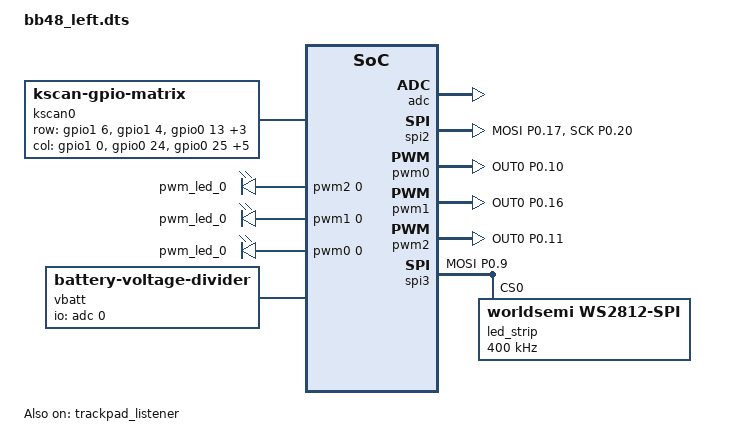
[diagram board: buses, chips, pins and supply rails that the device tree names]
/*
*
* Copyright (c) 2025 ZitaoTech
* SPDX-License-Identifier: MIT
*
*/

#include "bb48.dtsi"


/ {
    chosen {
        zmk,custom_led = &custom_led;
        zmk,trackball_led = &trackball_led;
        zmk,backlight = &backlight;
        zmk,battery = &vbatt;
        zmk,underglow = &led_strip;
    };
    kscan0: kscan {
        compatible = "zmk,kscan-gpio-matrix";
        diode-direction = "col2row";
        row-gpios
            = <&gpio1 6 (GPIO_ACTIVE_HIGH | GPIO_PULL_DOWN)>
            , <&gpio1 4  (GPIO_ACTIVE_HIGH | GPIO_PULL_DOWN)>
            , <&gpio0 13 (GPIO_ACTIVE_HIGH | GPIO_PULL_DOWN)>
            , <&gpio0 21  (GPIO_ACTIVE_HIGH | GPIO_PULL_DOWN)>
            , <&gpio0 31  (GPIO_ACTIVE_HIGH | GPIO_PULL_DOWN)>
            , <&gpio0 29  (GPIO_ACTIVE_HIGH | GPIO_PULL_DOWN)>
            ;
        col-gpios
            = <&gpio1 0  GPIO_ACTIVE_HIGH>
            , <&gpio0 24  GPIO_ACTIVE_HIGH>
            , <&gpio0 25  GPIO_ACTIVE_HIGH>
            , <&gpio1 3 GPIO_ACTIVE_HIGH>
            , <&gpio1 5 GPIO_ACTIVE_HIGH>
            , <&gpio1 7 GPIO_ACTIVE_HIGH>
            , <&gpio0 26 GPIO_ACTIVE_HIGH>
            , <&gpio0 27 GPIO_ACTIVE_HIGH>
            ;
    };

    custom_led: pwmledfo{
        compatible = "pwm-leds";
        pwm_led_0 {
            pwms = <&pwm2 0 PWM_USEC(20) PWM_POLARITY_NORMAL>;
        };
    };

    trackball_led: pwmledo{
        compatible = "pwm-leds";
        pwm_led_0 {
            pwms = <&pwm1 0 PWM_USEC(20) PWM_POLARITY_NORMAL>;
        };
    };

    backlight: pwmleds {
        compatible = "pwm-leds";
        pwm_led_0 {
            pwms = <&pwm0 0 PWM_MSEC(10) PWM_POLARITY_NORMAL>;
        };
    };

    vbatt: vbatt {
        compatible = "zmk,battery-voltage-divider";
        io-channels = <&adc 0>;
        output-ohms = <2000000>;
        full-ohms = <2820000>;  // 2000000 + 820000
    };
};


&adc {
    status = "okay";
};

&gpiote {
    status = "okay";
};

&gpio0 {
    status = "okay";
};

&gpio1 {
    status = "okay";
};

&spi2 {
    status = "okay";
};

&pwm0 {
    status = "okay";
    pinctrl-0 = <&pwm0_default>;
    pinctrl-1 = <&pwm0_sleep>;
    pinctrl-names = "default", "sleep";
};

&pwm1 {
    status = "okay";
    pinctrl-0 = <&pwm1_default>;
    pinctrl-1 = <&pwm1_sleep>;
    pinctrl-names = "default", "sleep";
};

&pwm2 {
    status = "okay";
    pinctrl-0 = <&pwm2_default>;
    pinctrl-1 = <&pwm2_sleep>;
    pinctrl-names = "default", "sleep";
};

&trackpad_listener {
    status = "okay";
};

lpm_view_spi: &spi2 {
    compatible = "nordic,nrf-spim";
    pinctrl-0 = <&spi2_default>;
    pinctrl-1 = <&spi2_sleep>;
    pinctrl-names = "default", "sleep";
    cs-gpios = <&gpio0 6 (GPIO_ACTIVE_HIGH | GPIO_PULL_DOWN) >;
};

&spi3 {
    compatible = "nordic,nrf-spim";
    status = "okay";

    pinctrl-0 = <&spi3_default>;
    pinctrl-1 = <&spi3_sleep>;
    pinctrl-names = "default", "sleep";

    led_strip: ws2812@0 {
        compatible = "worldsemi,ws2812-spi";
        /* SPI */
        reg = <0>; /* ignored, but necessary for SPI bindings */
        spi-max-frequency = <400000>;
        /* WS2812 */
        chain-length = <1>; /* number of LEDs */
        spi-one-frame = <0x70>;
        spi-zero-frame = <0x40>;
        color-mapping = <LED_COLOR_ID_GREEN
                         LED_COLOR_ID_RED
                         LED_COLOR_ID_BLUE>;
    };
};

&pinctrl {
    pwm0_default:pwm0_default{
        group1{
            psels = <NRF_PSEL(PWM_OUT0, 0, 10)>; // Backlight for backlight.c unreal
        };
    };

    pwm0_sleep: pwm0_sleep {
        group1 {
            psels = <NRF_PSEL(PWM_OUT0, 0, 10)>;
            bias-pull-down;
        };
    };

    pwm1_default:pwm1_default{
        group1{
            psels = <NRF_PSEL(PWM_OUT0, 0, 16)>; // Backlight for Trackpad
        };
    };

    pwm1_sleep: pwm1_sleep {
        group1 {
            psels = <NRF_PSEL(PWM_OUT0, 0, 16)>;
            bias-pull-down;
        };
    };

    pwm2_default: pwm2_default {
        group1 {
            psels = <NRF_PSEL(PWM_OUT0, 0, 11)>; // Backlight for custom LED
        };
    };

    pwm2_sleep: pwm2_sleep {
        group1 {
            psels = <NRF_PSEL(PWM_OUT0, 0, 11)>;
            bias-pull-down;
        };
    };    
    spi2_default: spi2_default {
        group1 {
            psels = <NRF_PSEL(SPIM_MOSI, 0, 17)>,
            <NRF_PSEL(SPIM_SCK, 0, 20)>;
        };
    };
    spi2_sleep: spi2_sleep {
        group1 {
            psels = <NRF_PSEL(SPIM_MOSI, 0, 17)>,
            <NRF_PSEL(SPIM_SCK, 0, 20)>;
            low-power-enable;
        };
    };
    spi3_default: spi3_default {
        group1 {
            psels = <NRF_PSEL(SPIM_MOSI, 0, 9)>;    // Setting for RGB light, unreal
        };
    };

    spi3_sleep: spi3_sleep {
        group1 {
            psels = <NRF_PSEL(SPIM_MOSI, 0, 9)>;
            low-power-enable;
        };
    };
};


